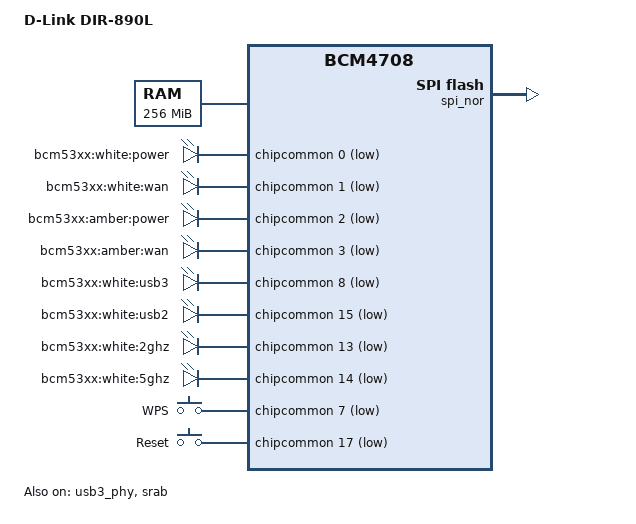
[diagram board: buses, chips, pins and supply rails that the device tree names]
// SPDX-License-Identifier: GPL-2.0-or-later OR MIT
/*
 * Device tree for D-Link DIR-890L
 * D-Link calls this board "WRGAC36"
 * this router has the same looks and form factor as D-Link DIR-885L.
 *
 * Some differences from DIR-885L include a separate USB2 port, separate LEDs
 * for USB2 and USB3, a separate VCC supply for the USB2 slot and no
 * router/extender switch is mounted (there is an empty mount point on the
 * PCB) so this device is a pure router. Also the LAN ports are in the right
 * order.
 *
 * Based on the device tree for DIR-885L
 * Copyright (C) 2016 Rafał Miłecki <zajec5@gmail.com>
 * Copyright (C) 2022 Linus Walleij
 */

/dts-v1/;

#include "bcm47094.dtsi"
#include "bcm5301x-nand-cs0-bch1.dtsi"

/ {
	compatible = "dlink,dir-890l", "brcm,bcm47094", "brcm,bcm4708";
	model = "D-Link DIR-890L";

	chosen {
		bootargs = "console=ttyS0,115200 earlycon";
	};

	memory@0 {
		device_type = "memory";
		reg = <0x00000000 0x08000000>,
		      <0x88000000 0x08000000>;
	};

	leds {
		/*
		 * LED information is derived from the boot log which
		 * conveniently lists all the LEDs.
		 */
		compatible = "gpio-leds";

		led-power-white {
			label = "bcm53xx:white:power";
			gpios = <&chipcommon 0 GPIO_ACTIVE_LOW>;
			linux,default-trigger = "default-on";
		};

		led-wan-white {
			label = "bcm53xx:white:wan";
			gpios = <&chipcommon 1 GPIO_ACTIVE_LOW>;
		};

		led-power-amber {
			label = "bcm53xx:amber:power";
			gpios = <&chipcommon 2 GPIO_ACTIVE_LOW>;
		};

		led-wan-amber {
			label = "bcm53xx:amber:wan";
			gpios = <&chipcommon 3 GPIO_ACTIVE_LOW>;
		};

		led-usb3-white {
			label = "bcm53xx:white:usb3";
			gpios = <&chipcommon 8 GPIO_ACTIVE_LOW>;
			trigger-sources = <&xhci_port1>;
			linux,default-trigger = "usbport";
		};

		led-usb2-white {
			label = "bcm53xx:white:usb2";
			gpios = <&chipcommon 15 GPIO_ACTIVE_LOW>;
			trigger-sources = <&ohci_port1>, <&ehci_port1>;
			linux,default-trigger = "usbport";
		};

		led-2ghz {
			label = "bcm53xx:white:2ghz";
			gpios = <&chipcommon 13 GPIO_ACTIVE_LOW>;
		};

		led-5ghz {
			label = "bcm53xx:white:5ghz";
			gpios = <&chipcommon 14 GPIO_ACTIVE_LOW>;
		};
	};

	gpio-keys {
		compatible = "gpio-keys";

		button-wps {
			label = "WPS";
			linux,code = <KEY_WPS_BUTTON>;
			gpios = <&chipcommon 7 GPIO_ACTIVE_LOW>;
		};

		/* Called "factory reset" in the vendor dmesg */
		button-restart {
			label = "Reset";
			linux,code = <KEY_RESTART>;
			gpios = <&chipcommon 17 GPIO_ACTIVE_LOW>;
		};
	};

	/*
	 * The flash memory is memory mapped at 0x1e000000-0x1fffffff
	 * 64KB blocks; total size 2MB, same that can be
	 * found attached to the spi_nor SPI controller.
	 */
	nvram@1e1f0000 {
		compatible = "brcm,nvram";
		reg = <0x1e1f0000 0x00010000>;

		et0macaddr: et0macaddr {
		};
	};
};

&gmac2 {
	/*
	 * The NVRAM curiously does not contain a MAC address
	 * for et2 so since that is the only ethernet interface
	 * actually in use on the platform, we use this et0 MAC
	 * address for et2.
	 */
	nvmem-cells = <&et0macaddr>;
	nvmem-cell-names = "mac-address";
};

&spi_nor {
	status = "okay";
};

&nandcs {
	/* Spansion S34ML01G2, 128MB with 128KB erase blocks */
	partitions {
		compatible = "fixed-partitions";
		#address-cells = <1>;
		#size-cells = <1>;

		/*
		 * This is called "nflash" in the vendor kernel with
		 * "upgrade" and "rootfs" (probably using OpenWrt
		 * splitpart). We call it "firmware" like standard tools
		 * assume. The CFE loader contains incorrect information
		 * about TRX partitions, ignore this, there are no TRX
		 * partitions: this device uses SEAMA.
		 */
		firmware@0 {
			compatible = "seama";
			label = "firmware";
			reg = <0x00000000 0x08000000>;
		};
	};
};

&usb2 {
	vcc-gpios = <&chipcommon 21 GPIO_ACTIVE_HIGH>;
};

&usb3 {
	vcc-gpios = <&chipcommon 18 GPIO_ACTIVE_HIGH>;
};

&usb3_phy {
	status = "okay";
};

&srab {
	status = "okay";

	ports {
		port@0 {
			label = "lan1";
		};

		port@1 {
			label = "lan2";
		};

		port@2 {
			label = "lan3";
		};

		port@3 {
			label = "lan4";
		};

		port@4 {
			label = "wan";
		};

		port@5 {
			status = "disabled";
		};

		port@7 {
			status = "disabled";
		};

		port@8 {
			label = "cpu";
			phy-mode = "rgmii";
		};
	};
};
